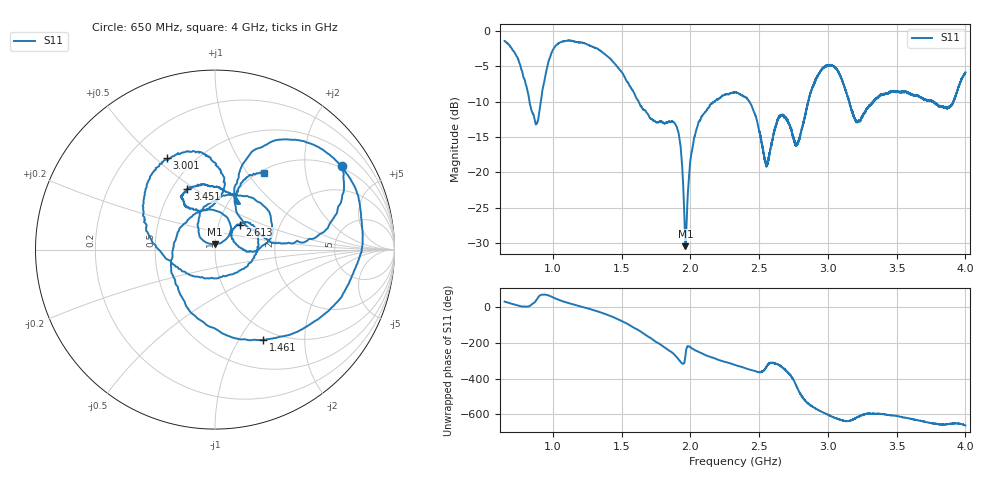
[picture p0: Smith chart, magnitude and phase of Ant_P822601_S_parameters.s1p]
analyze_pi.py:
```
#!/usr/bin/env python3
"""Connect the simulated feed + matching-land copper (10-port, from sim_pi.py) with the L/C values and the
measured antenna, and report the match seen by the modem.

    python analyze_pi.py [variant=pi] [out=nport] [L5=24n C5=2.4p L6=1n C8=0.3p C6=- C7=-] [write=match.s1p]
    (use - for not fitted; without part values it also runs a grid + refined E24 search)

Port order (see <variant>/nport/ports.json): 0 modem, 1 antenna (pad1-pad2), 2 C5.1 (ANT_MID side),
3 C5.2 (ANT_FEED side), 4 L6.1 (RF side), 5 L6.2 (ANT_MID side), 6 L5.1, 7 C8.1 (feed-side land of each shunt
part; the other land is ground copper; the DNI lands C6/C7 are floating copper in the EM model). Needs numpy + scikit-rf.
"""
import os, sys, glob, json
import numpy as np
import skrf as rf
from skrf.media import DefinedGammaZ0
from skrf.circuit import Circuit

HERE = os.path.dirname(os.path.abspath(__file__))
variant = next((a for a in sys.argv[1:] if '=' not in a), 'pi')
vals = dict(L5=24e-9, C5=2.4e-12, L6=1.0e-9, C8=0.3e-12)
def parse(v):
    if v in ('-', 'DNI', 'none', 'open'): return None
    m = {'p': 1e-12, 'n': 1e-9, 'u': 1e-6}; return float(v[:-1]) * m[v[-1]] if v[-1] in m else float(v)
vals.update(C6=None, C7=None)
for a in sys.argv[1:]:
    if '=' in a and not a.startswith(('out=', 'write=')): k, v = a.split('='); vals[k] = parse(v)
BANDS = [('B28/12', 703, 748), ('B5', 824, 849), ('B8', 880, 915), ('B3', 1710, 1785), ('B2', 1850, 1910), ('B1', 1920, 1980), ('B7', 2500, 2570), ('n78', 3400, 3600)]
db = lambda x: 20 * np.log10(np.abs(x))

sub = next((a.split('=')[1] for a in sys.argv[1:] if a.startswith('out=')), 'nport')   # out=<folder> under the variant (default nport)
em = rf.Network(glob.glob(os.path.join(HERE, variant, sub, 'feed_pi.s*p'))[0])
pinfo = json.load(open(os.path.join(HERE, variant, sub, 'ports.json')))
GAP = any(p.get('gap') for p in pinfo)            # sim_pi.py --gap=1: one port per part, terminated by the part's 1-port impedance
pidx = {p['name']: p['index'] for p in pinfo}
em = em['0.65-4.0GHz']
fr = em.frequency
ant = rf.Network(os.path.join(HERE, 'sparam', 'Ant_P822601_S_parameters.s1p')).interpolate(fr); ant.name = 'ant'
med = DefinedGammaZ0(frequency=fr, z0=50)

def match(L5, C5, L6, C8, C6=None, C7=None):
    """Return the 1-port network seen by the modem (port 0) with the parts connected to the EM copper."""
    modem = Circuit.Port(fr, name='modem', z0=50)
    if GAP:
        def one(name, kind, val):
            if val is None: n = med.open()
            else: n = (med.inductor(val) if kind == 'L' else med.capacitor(val)) ** med.short()
            n.name = name; return n
        cnx = [[(modem, 0), (em, 0)], [(em, pidx['antenna']), (ant, 0)]]
        for name, kind, val in (('C5', 'C', C5), ('L6', 'L', L6), ('L5', 'L', L5), ('C8', 'C', C8), ('C6', 'C', C6), ('C7', 'C', C7)):
            if name in pidx: cnx.append([(em, pidx[name]), (one(name, kind, val), 0)])
        return Circuit(cnx).network
    gnd = Circuit.Ground(fr, name='gnd')
    def L(name, val): n = med.inductor(val); n.name = name; return n
    def C(name, val): n = med.capacitor(val); n.name = name; return n
    def op(name): n = med.open(); n.name = name; return n
    c5, l6 = C('C5', C5), L('L6', L6)
    cnx = [[(modem, 0), (em, 0)], [(em, 1), (ant, 0)],
           [(em, 2), (c5, 0)], [(em, 3), (c5, 1)],
           [(em, 4), (l6, 0)], [(em, 5), (l6, 1)]]
    shunts = []
    for idx, name, val, kind in ((6, 'L5', L5, 'L'), (7, 'C8', C8, 'C')):
        if val is None:
            cnx.append([(em, idx), (op('open_' + name), 0)])
        else:
            n = L(name, val) if kind == 'L' else C(name, val); shunts.append(n)
            cnx.append([(em, idx), (n, 0)])
    cnx.append([(n, 1) for n in shunts] + [(gnd, 0)])
    return Circuit(cnx).network

def worst(g): return [db(g[(fr.f >= lo * 1e6) & (fr.f <= hi * 1e6)]).max() for _, lo, hi in BANDS]
def row(name, g): print(f'{name:44s}', ' '.join(f'{v:7.1f}' for v in worst(g)))

print(f'EM model: {variant}/{sub} ({em.nports} ports, {"gap" if GAP else "land-to-GND1"} ports). Worst |S11| at the modem per band, dB')
print(f'{"":44s}', ' '.join(f'{n:>7s}' for n, _, _ in BANDS))
row('antenna alone (no feed, no matching)', ant.s[:, 0, 0])
row(f'feed+lands, L5={vals["L5"]*1e9 if vals["L5"] else 0:g}n C5={vals["C5"]*1e12:g}p L6={vals["L6"]*1e9:g}n C8={vals["C8"]*1e12 if vals["C8"] else 0:g}p C6={vals["C6"]*1e12 if vals["C6"] else 0:g}p C7={vals["C7"]*1e12 if vals["C7"] else 0:g}p', match(**vals).s[:, 0, 0])
if all('=' not in a or a.startswith(('out=', 'write=')) for a in sys.argv[1:]):
    row('feed+lands, appendix-1: 24n/2.4p/4.7n/-', match(24e-9, 2.4e-12, 4.7e-9, None).s[:, 0, 0])
    row('feed+lands, 22n/2.4p/3.3n/-', match(22e-9, 2.4e-12, 3.3e-9, None).s[:, 0, 0])
    row('feed+lands, 0R jumpers only (C5,L6 short)', match(None, 1e-3, 1e-12, None).s[:, 0, 0])
    # small search over E12-ish values for the best worst-case across the bands you use
    best = []
    for L5 in (15e-9, 18e-9, 22e-9, 27e-9, 33e-9, None):
        for C5 in (1.5e-12, 1.8e-12, 2.2e-12, 2.7e-12, 3.3e-12, 4.7e-12):
            for L6 in (1e-12, 1e-9, 1.5e-9, 2.2e-9, 3.3e-9, 4.7e-9):
                for C8 in (None, 0.3e-12, 0.5e-12, 0.8e-12, 1.0e-12):
                    w = worst(match(L5, C5, L6, C8).s[:, 0, 0]); best.append((max(w), np.mean(w), L5, C5, L6, C8))
    best.sort(key=lambda t: (t[0], t[1]))
    for mx, mn, L5, C5, L6, C8 in best[:5]:
        row(f'best: L5={L5*1e9 if L5 else 0:g}n C5={C5*1e12:g}p L6={L6*1e9:g}n C8={C8*1e12 if C8 else 0:g}p', match(L5, C5, L6, C8).s[:, 0, 0])
    # refined E24 search: two E24 steps either side of the best grid point (shunt parts stay DNI if they were)
    E24 = np.array([1.0, 1.1, 1.2, 1.3, 1.5, 1.6, 1.8, 2.0, 2.2, 2.4, 2.7, 3.0, 3.3, 3.6, 3.9, 4.3, 4.7, 5.1, 5.6, 6.2, 6.8, 7.5, 8.2, 9.1])
    def near(v):
        if v is None: return [None]
        e = int(np.floor(np.log10(v) + 1e-9)); ser = np.concatenate([E24 * 10.0 ** (e - 1), E24 * 10.0 ** e, E24 * 10.0 ** (e + 1)])
        i = int(np.argmin(np.abs(ser - v))); return list(ser[max(i - 2, 0):i + 3])
    _, _, L5b, C5b, L6b, C8b = best[0]; fine = []
    for L5 in near(L5b):
        for C5 in near(C5b):
            for L6 in near(L6b):
                for C8 in near(C8b):
                    w = worst(match(L5, C5, L6, C8).s[:, 0, 0]); fine.append((max(w), np.mean(w), L5, C5, L6, C8))
    fine.sort(key=lambda t: (t[0], t[1]))
    for mx, mn, L5, C5, L6, C8 in fine[:5]:
        row(f'E24: L5={L5*1e9 if L5 else 0:.3g}n C5={C5*1e12:.3g}p L6={L6*1e9:.3g}n C8={C8*1e12 if C8 else 0:.3g}p', match(L5, C5, L6, C8).s[:, 0, 0])
w = next((a.split('=', 1)[1] for a in sys.argv[1:] if a.startswith('write=')), None)   # write=<file.s1p>: modem-side 1-port
if w: n = match(**vals); n.write_touchstone(w[:-4] if w.endswith('.s1p') else w); print('wrote', w)
```
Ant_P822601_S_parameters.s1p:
# Hz S DB R 50
! CMT, PLANAR-804/1, 14065176, 3.47/03
! Date: 3/9/2023 2:41:44 PM
! Data: Format (Calibration Info)
! Freq  S11: dB/Ang (F1 Pxt)
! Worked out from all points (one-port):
!   8001 points, 650 MHz to 4 GHz, reference 50 ohm
!   lowest |S11| = -30.4 dB at 1.965 GHz (marker M1), VSWR 1.06, Z = 49.9 + j3 ohm
!   |S11| at or under -10 dB: 1.624 GHz to 2.178 GHz (553.5 MHz wide, 29.1 % of centre); 2.429 GHz to 2.858 GHz (428.1 MHz wide, 16.2 % of centre); 3.155 GHz to 3.33 GHz (175.2 MHz wide, 5.4 % of centre)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
!   S11 on the Smith chart (normalised r, x): 650 MHz: 0.94, +3.10; 1.461 GHz: 0.86, -1.28; 2.613 GHz: 1.26, +0.37; 3.001 GHz: 0.36, +0.55; 3.451 GHz: 0.60, +0.47; 4 GHz: 1.05, +1.20
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6.5e8  -1.43 33.1
8.803125e8  -13.15 42.6
1.019756e9  -2.15 50.5
1.227875e9  -1.74 0.3
1.461119e9  -4.88 -61.8
1.766806e9  -12.93 159.8
1.906669e9  -13.94 76.6
1.964875e9  -30.44 90.0
2.155825e9  -10.30 79.7
2.612681e9  -14.12 45.2
2.883612e9  -8.14 165.5
3.000862e9  -4.82 117.7
3.451438e9  -8.65 114.6
4e9  -5.90 57.4
